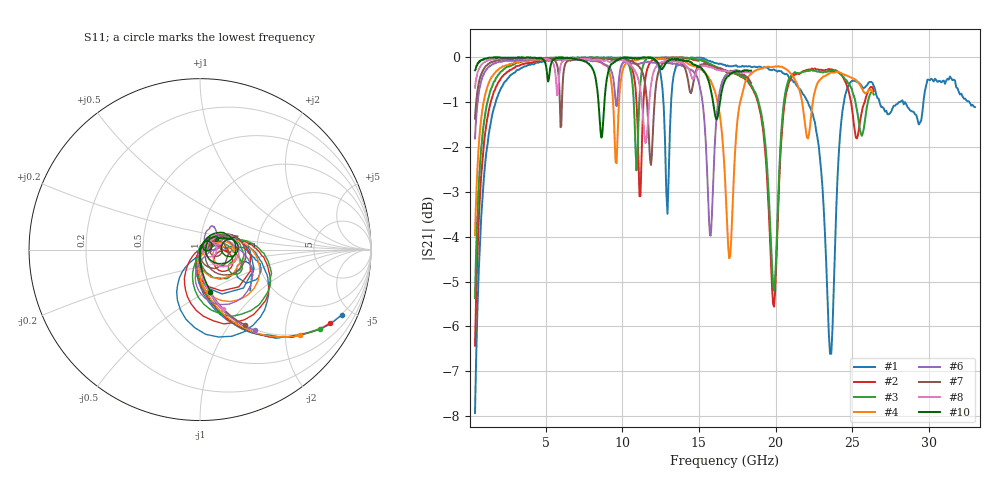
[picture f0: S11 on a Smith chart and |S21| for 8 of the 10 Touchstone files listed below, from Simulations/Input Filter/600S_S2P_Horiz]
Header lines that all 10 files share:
!  One Norden Lane
!  Huntington Station,  NY.  11746-2102
!  Tel:  (631) 622-4700  Fax:  (631) 622-4748
!  Description: Ultra Low ESR Microwave capacitors
!  Application: Coupling, Bypass, Tuning, DC Block
!  Filters, Matching
# GHZ S DB R 50
! Freq  |S11|  S11 Ph  |S21|  S21 Ph  |S12|  S12 Ph  |S22|  S22 Ph
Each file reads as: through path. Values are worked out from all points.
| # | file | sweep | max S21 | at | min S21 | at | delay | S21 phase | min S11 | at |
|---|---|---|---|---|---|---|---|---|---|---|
| 1 | 600S1R8.S2P | 400 MHz to 33 GHz | 0.00 dB | 7.98 GHz | -7.9 dB | 400 MHz | 11.8 ps | -58 deg at 16.7 GHz | -58.9 dB | 9.121 GHz |
| 2 | 600S2R2.S2P | 400 MHz to 26.4 GHz | 0.00 dB | 13.72 GHz | -6.4 dB | 400 MHz | 12.1 ps | -46 deg at 13.4 GHz | -60.0 dB | 12.55 GHz |
| 3 | 600S2R7.S2P | 400 MHz to 26.4 GHz | 0.00 dB | 5.665 GHz | -5.4 dB | 400 MHz | 12.1 ps | -47 deg at 13.4 GHz | -46.4 dB | 7.29 GHz |
| 4 | 600S3R3.S2P | 400 MHz to 26.34 GHz | -0.01 dB | 11.9 GHz | -4.5 dB | 16.98 GHz | 11.2 ps | -47 deg at 13.4 GHz | -42.2 dB | 7.55 GHz |
| 5 | 600S4R7.S2P | 400 MHz to 18.4 GHz | -0.01 dB | 4.72 GHz | -4.8 dB | 13.18 GHz | 11.7 ps | -31 deg at 9.4 GHz | -68.8 dB | 6.16 GHz |
| 6 | 600S5R6.S2P | 400 MHz to 18 GHz | -0.04 dB | 4.712 GHz | -4.0 dB | 15.76 GHz | 12.1 ps | -35 deg at 9.2 GHz | -43.0 dB | 6.604 GHz |
| 7 | 600S6R8.S2P | 400 MHz to 18.4 GHz | -0.01 dB | 4.675 GHz | -2.4 dB | 11.88 GHz | 11.4 ps | -33 deg at 9.4 GHz | -47.7 dB | 5.125 GHz |
| 8 | 600S100.S2P | 400 MHz to 18.36 GHz | -0.02 dB | 2.74 GHz | -1.9 dB | 11.52 GHz | 11.2 ps | -35 deg at 9.4 GHz | -77.2 dB | 4.36 GHz |
| 9 | 600S110.S2P | 400 MHz to 18 GHz | 0.09 dB | 6.604 GHz | -2.8 dB | 9.552 GHz | 11.3 ps | -39 deg at 9.2 GHz | -46.3 dB | 10.04 GHz |
| 10 | 600S150.S2P | 400 MHz to 18.4 GHz | 0.00 dB | 3.865 GHz | -1.8 dB | 8.635 GHz | 10.7 ps | -31 deg at 9.4 GHz | -60.7 dB | 3.325 GHz |
